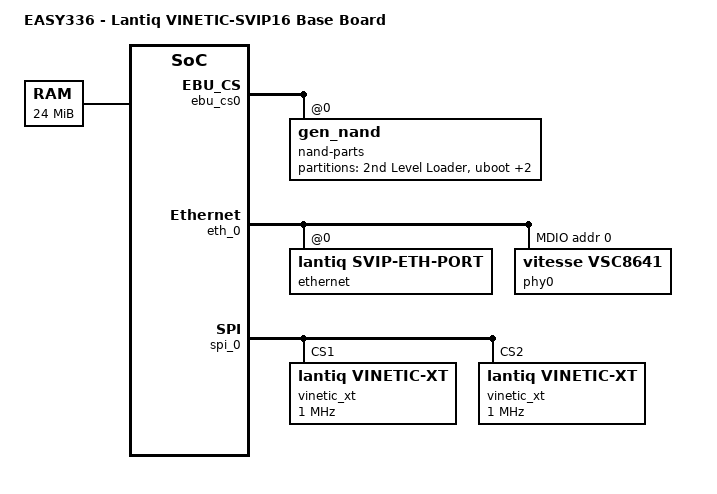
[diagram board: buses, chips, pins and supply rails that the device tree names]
/dts-v1/;

#include "svip.dtsi"

/ {
	model = "EASY336 - Lantiq VINETIC-SVIP16 Base Board";
	compatible = "lantiq,easy336", "lantiq,svip";

	memory@0 {
		device_type = "memory";
		reg = <0x0 0x1800000>;  // 24M at 0x0
	};

	svip_reset@0 {
		compatible = "lantiq,svip-reset";
		svip-toggle-reset-pin = <0x120000f3 1>;
//		// for EASY33016 board it will be
//		// svip-toggle-reset-pin = <0x120000f3 0x88888888>;
	};
};

&ebu_cs0 {
	nand-parts@0 {
		#address-cells = <1>;
		#size-cells = <1>;
		compatible = "gen_nand", "lantiq,nand-svip";
		bank-width = <1>;
		reg = <0x0 0x2000000>;
		linux,mtd-name = "gen_nand";
		bbt-use-flash;
		
		partition@0 {
			label = "2nd Level Loader";
			reg = <0x0 0x4000>;
		};
		
		partition@4000 {
			label = "uboot";
			reg = <0x4000 0x4C000>;
		};

		partition@50000 {
			label = "uboot_env";
			reg = <0x50000 0x10000>;
		};

		partition@60000 {
			label = "linux";
			reg = <0x60000 0x800000>;
		};
		
	};
};

&eth_0 {
	ethernet@0 {
		compatible = "lantiq,svip-eth-port";
		reg = <0>;
		phy-handle = <&phy0>;
	};

	mdio@0 {
		#address-cells = <1>;
		#size-cells = <0>;
		compatible = "lantiq,svip-mdio";
		phy0: ethernet-phy@0 {
			reg = <0x0>;
			compatible = "vitesse,vsc8641", "ethernet-phy-ieee802.3-c22";
		};
	};
};

&spi_0 {
	status = "okay";

	vinetic_xt@1 {
		compatible = "lantiq,vinetic-xt";
		reg = <1>;
		spi-max-frequency = <1000000>;
		spi-cpol;
		spi-cpha;
	};
	vinetic_xt@2 {
		compatible = "lantiq,vinetic-xt";
		reg = <2>;
		spi-max-frequency = <1000000>;
		spi-cpol;
		spi-cpha;
	}; 
};
